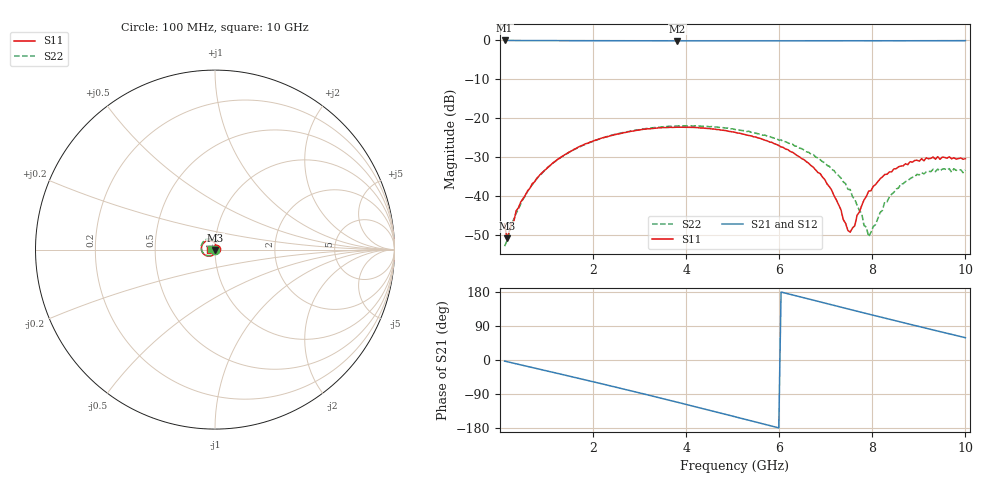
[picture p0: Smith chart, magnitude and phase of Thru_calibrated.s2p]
!Keysight Technologies,P9374A,MY57211797,A.19.30.04
!Date: Wednesday, April 23, 2025 12:25:26
!Correction: S11(C  2-Port  )
!S21(C  2-Port  )
!S12(C  2-Port  )
!S22(C  2-Port  )
!S2P File: Measurements: S11, S21, S12, S22:
# Hz S  dB  R 50
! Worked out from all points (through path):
!   201 points, 100 MHz to 10 GHz, reference 50 ohm
!   highest |S21| = -0.02 dB at 100 MHz (marker M1); lowest = -0.1 dB at 3.812 GHz (marker M2)
!   group delay of S21, straight-line fit = 84.6 ps
!   lowest |S11| = -50.9 dB at 149.5 MHz (marker M3), VSWR 1.01, Z = 50.2 - j0.178 ohm
!   |S11| at or under -10 dB: start of sweep to end of sweep
!   |S22| runs from -52.9 to -22.0 dB; largest |S21 - S12| = 0.0036
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1e8  -47.19 18.5  -0.02 -2.9  -0.02 -2.9  -52.93 -13.0
1.495e8  -50.89 -38.4  -0.02 -4.4  -0.02 -4.4  -51.60 -24.0
3.475e8  -43.87 -53.4  -0.03 -10.0  -0.03 -10.0  -44.49 -56.3
7.435e8  -36.39 -85.4  -0.05 -21.3  -0.05 -21.3  -36.26 -87.4
1.1395e9  -31.49 -102.3  -0.07 -32.6  -0.06 -32.6  -31.57 -105.9
1.783e9  -26.93 -125.7  -0.09 -51.0  -0.09 -51.1  -26.98 -129.5
2.6245e9  -23.86 -152.9  -0.11 -75.7  -0.11 -75.7  -23.75 -157.4
3.4165e9  -22.49 -177.1  -0.13 -99.4  -0.12 -99.5  -22.35 176.9
3.8125e9  -22.33 170.3  -0.13 -111.5  -0.12 -111.6  -22.04 164.6
5.05e9  -23.64 132.1  -0.11 -149.7  -0.11 -149.9  -22.92 124.6
5.8915e9  -26.57 104.8  -0.10 -176.0  -0.10 -176.2  -25.17 98.0
6.733e9  -32.64 75.9  -0.10 157.8  -0.10 157.6  -29.38 69.5
7.129e9  -38.57 57.6  -0.10 145.5  -0.10 145.3  -33.18 52.3
7.525e9  -49.33 -30.8  -0.10 133.3  -0.10 133.1  -38.37 35.6
7.624e9  -47.66 -71.3  -0.10 130.2  -0.10 130.0  -40.87 25.6
7.7725e9  -42.48 -97.5  -0.10 125.7  -0.10 125.5  -44.50 7.8
7.822e9  -41.06 -108.1  -0.10 124.2  -0.10 124.0  -47.63 -4.5
7.921e9  -38.78 -112.6  -0.10 121.1  -0.10 121.0  -50.48 -48.8
8.3665e9  -33.86 -133.1  -0.10 107.6  -0.10 107.4  -40.26 -131.6
8.614e9  -32.32 -142.6  -0.10 100.1  -0.10 99.9  -36.91 -148.4
9.0595e9  -30.43 -153.5  -0.09 86.7  -0.09 86.5  -34.02 -162.2
1e10  -30.43 -174.0  -0.07 58.8  -0.07 58.6  -33.33 173.7
